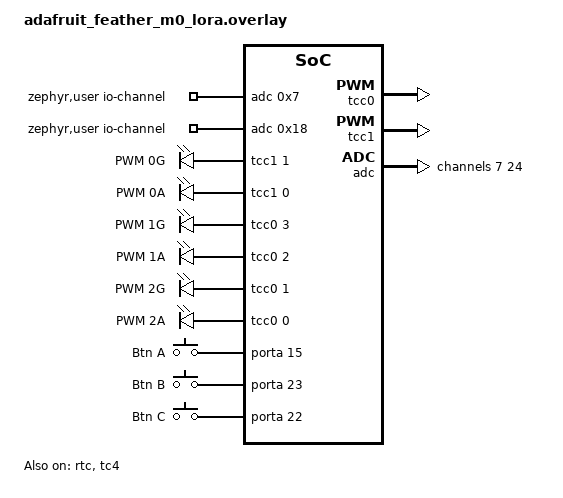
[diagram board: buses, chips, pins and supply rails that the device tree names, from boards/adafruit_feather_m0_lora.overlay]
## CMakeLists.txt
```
# SPDX-License-Identifier: Apache-2.0

cmake_minimum_required(VERSION 3.20.0)

# It seems appropriate to put this *after* the Zephyr package but it only
# affects the build if we put it here. I'm surely doing something wrong.
set_property(GLOBAL APPEND PROPERTY extra_post_build_commands
        COMMAND ${PYTHON_EXECUTABLE} "$ENV{ZEPHYR_BASE}/../common/scripts/incr_build.py"
        ARGS ${CMAKE_CURRENT_SOURCE_DIR}/VERSION
)

find_package(Zephyr REQUIRED HINTS $ENV{ZEPHYR_BASE})
project(lora_ctrl)

add_subdirectory(../common lora-common)

FILE(GLOB app_sources src/*.c)
target_sources(app PRIVATE ${app_sources} ${common_sources} ${common_board_sources})
```

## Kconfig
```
rsource "../common/Kconfig"

source "Kconfig.zephyr"
```

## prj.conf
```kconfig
# General Zephyr settings
CONFIG_MAIN_STACK_SIZE=2048
CONFIG_SYSTEM_WORKQUEUE_STACK_SIZE=4096
CONFIG_THREAD_NAME=y
CONFIG_LOG=y
CONFIG_LOG_MODE_MINIMAL=y
#CONFIG_LOG_BUFFER_SIZE=2048

# Power management
CONFIG_PM=y
CONFIG_CLOCK_CONTROL=y

# Use SAM0 RTC driver instead of Cortex M for system clock
#CONFIG_CORTEX_M_SYSTICK=n
CONFIG_SAM0_RTC_TIMER=n
CONFIG_TIMESLICING=n
CONFIG_SYSTEM_CLOCK_SLOPPY_IDLE=y
#CONFIG_ISR_TABLE_COUNT=y
#CONFIG_DYNAMIC_INTERRUPTS=y

# LoRa PHY
CONFIG_LORA=y
#CONFIG_LORA_LOG_LEVEL_DBG=y

# NVS required to store LoRaWAN DevNonce
CONFIG_NVS=y
CONFIG_SETTINGS=y
CONFIG_SETTINGS_DYNAMIC_HANDLERS=n
#CONFIG_SETTINGS_LOG_LEVEL_DBG=y
# Erase sector size is 256 B but largest LoRaWAN element is 892 B (RegionGroup2)
CONFIG_SETTINGS_NVS_SECTOR_SIZE_MULT=4
CONFIG_SETTINGS_NVS_SECTOR_COUNT=8

# Random number generator required for several LoRaWAN services
#CONFIG_ENTROPY_GENERATOR=y
CONFIG_TEST_RANDOM_GENERATOR=y

# LoRaWAN application layer
CONFIG_LORAWAN=y
CONFIG_LORAMAC_REGION_US915=y
CONFIG_LORAWAN_NVM_SETTINGS=y
CONFIG_LORAMAC_SECURE_ELEMENT_PRE_PROVISIONED=y
#CONFIG_LORAWAN_LOG_LEVEL_DBG=y

# LoRaWAN services required for FUOTA
#CONFIG_LORAWAN_SERVICES=y
##CONFIG_LORAWAN_SERVICES_LOG_LEVEL_DBG=y
#CONFIG_LORAWAN_APP_CLOCK_SYNC=y
#CONFIG_LORAWAN_REMOTE_MULTICAST=y
#CONFIG_LORAWAN_FRAG_TRANSPORT=y
#CONFIG_LORAWAN_FRAG_TRANSPORT_DECODER_LOWMEM=y

# Flash driver to store firmware image
CONFIG_FLASH=y
CONFIG_FLASH_MAP=y
CONFIG_FLASH_PAGE_LAYOUT=y
CONFIG_STREAM_FLASH=y
CONFIG_IMG_MANAGER=y

# hwinfo for unique ID
CONFIG_HWINFO=y
CONFIG_REBOOT=y
CONFIG_MBEDTLS=y
CONFIG_MBEDTLS_PSA_CRYPTO_C=y
CONFIG_PSA_WANT_KEY_TYPE_AES=y
CONFIG_PSA_WANT_ALG_ECB_NO_PADDING=y
CONFIG_MBEDTLS_AES_ROM_TABLES=y
CONFIG_MBEDTLS_AES_FEWER_TABLES=y

# Build secure storage, as the M0 doesn't support TF-M
CONFIG_HAS_SEMTECH_SOFT_SE=y

# TODO: Migrate LoRaWAN soft-se to use PSA secure storage and deduplicate encryption
#CONFIG_HAS_PSA_STORAGE_SE=y
#CONFIG_SECURE_STORAGE=y
#CONFIG_MBEDTLS_PSA_KEY_SLOT_COUNT=4
# Disable PSA ITS warning
#CONFIG_SECURE_STORAGE_ITS_TRANSFORM_AEAD_NO_INSECURE_KEY_WARNING=y

# PWM for LEDs and ADC for reading battery & temperature
CONFIG_COUNTER=y
CONFIG_ADC=y
#CONFIG_ADC_LOG_LEVEL_DBG=y
CONFIG_PWM=y
CONFIG_LED=y
CONFIG_LED_PWM=y
#CONFIG_GPIO_LOG_LEVEL_DBG=y

# Debugging
#CONFIG_STACK_CANARIES_ALL=y

# USB CDC/ACM
CONFIG_SERIAL=y
CONFIG_USB_DEVICE_STACK=y
# We initialize USB on demand, not at boot
#CONFIG_USB_DEVICE_INITIALIZE_AT_BOOT=y
CONFIG_USB_CDC_ACM_LOG_LEVEL_OFF=y
CONFIG_USB_DEVICE_LOG_LEVEL_OFF=y
CONFIG_USB_SELF_POWERED=n
# Value reported is twice this
CONFIG_USB_MAX_POWER=250

# Bootloader support
CONFIG_BOOTLOADER_BOSSA=y
CONFIG_BOOTLOADER_BOSSA_DEVICE_NAME="board_cdc_acm_uart"
CONFIG_BOOTLOADER_BOSSA_ADAFRUIT_UF2=y
```

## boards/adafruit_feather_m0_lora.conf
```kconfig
# use fixed frag size (min and max 232 bytes) to avoid RAM overflow
CONFIG_LORAWAN_FRAG_TRANSPORT_MIN_FRAG_SIZE=232

# alternatively, the redundancy could be reduced
CONFIG_LORAWAN_FRAG_TRANSPORT_MAX_REDUNDANCY=2
```

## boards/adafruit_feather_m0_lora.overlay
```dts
#include <feather-m0-flash-layout.dtsi>
#include <../boards/common/usb/cdc_acm_serial.dtsi>
#include <dt-bindings/gpio/atmel-sam0-gpio.h>

/ {
	chosen {
		zephyr,code-partition = &slot0_partition;
	};	

	zephyr,user {
		io-channels = <&adc 0x7>, <&adc 0x18>;
	};

	aliases {
		pwm-led0g = &pwm_led0g;
		pwm-led0a = &pwm_led0a;
		pwm-led1g = &pwm_led1g;
		pwm-led1a = &pwm_led1a;
		pwm-led2g = &pwm_led2g;
		pwm-led2a = &pwm_led2a;

		btn-gate = &button0;
		btn-garage0 = &button1;
		btn-garage1 = &button2;
	};

	pwmleds {
		compatible = "pwm-leds";

		pwm_led2g: pwm_led_2g {
			pwms = <&tcc1 1 PWM_MSEC(5)>;
			label = "PWM 0G";
		};
		pwm_led2a: pwm_led_2a {
			pwms = <&tcc1 0 PWM_MSEC(5)>;
			label = "PWM 0A";
		};

		pwm_led1g: pwm_led_1g {
			pwms = <&tcc0 3 PWM_MSEC(5)>;
			label = "PWM 1G";
		};
		pwm_led1a: pwm_led_1a {
			pwms = <&tcc0 2 PWM_MSEC(5)>;
			label = "PWM 1A";
		};

		pwm_led0g: pwm_led_0g {
			pwms = <&tcc0 1 PWM_MSEC(5)>;
			label = "PWM 2G";
		};
		pwm_led0a: pwm_led_0a {
			pwms = <&tcc0 0 PWM_MSEC(5)>;
			label = "PWM 2A";
		};
	};

	buttons {
		compatible = "gpio-keys";

		button0: button_0 {
			gpios = <&porta 15 (GPIO_PULL_DOWN | GPIO_ACTIVE_HIGH | SAM0_GPIO_DEBOUNCE)>;
			label = "Btn A";
		};

		button1: button_1 {
			gpios = <&porta 23 (GPIO_PULL_DOWN | GPIO_ACTIVE_HIGH | SAM0_GPIO_DEBOUNCE)>;
			label = "Btn B";
		};

		button2: button_2 {
			gpios = <&porta 22 (GPIO_PULL_DOWN | GPIO_ACTIVE_HIGH | SAM0_GPIO_DEBOUNCE)>;
			label = "Btn C";
		};
	};

};

&rtc {
	status = "okay";
	counter-mode = "clock";
	prescaler = <1>;
	systimer;
};

&tcc0 {
	status = "okay";
	compatible = "atmel,sam0-tcc-pwm";
	prescaler = <2>;
	#pwm-cells = <2>;

	pinctrl-0 = <&tcc0_pwm_default>;
	pinctrl-names = "default";
};

&tcc1 {
	status = "okay";
	compatible = "atmel,sam0-tcc-pwm";
	prescaler = <2>;
	#pwm-cells = <2>;

	pinctrl-0 = <&tcc1_pwm_default>;
	pinctrl-names = "default";
};

&tc4 {
	status = "okay";
	pinctrl-0 = <&tc4_default>;
	pinctrl-names = "default";
};

&sercom3 {
	status = "disabled";
};

#include <dt-bindings/pinctrl/samd21-da1gXabcd-pinctrl.h>

&adc {
	status = "okay";
	#address-cells = <1>;
	#size-cells = <0>;

	pinctrl-0 = <&adc_default>;
	pinctrl-names = "default";

	channel@7 {
		reg = <0x7>;
		zephyr,gain = "ADC_GAIN_1_2";
		zephyr,reference = "ADC_REF_VDD_1_2";
		zephyr,oversampling = <4>; /* Actual oversampling is 2**n */
		zephyr,acquisition-time = <ADC_ACQ_TIME(ADC_ACQ_TIME_MICROSECONDS, 20)>;
		zephyr,vref-mv = <3300>;
		zephyr,input-positive = <0x7>;
		zephyr,resolution = <12>;
	};

	channel@18 {
		reg = <0x18>;
		zephyr,gain = "ADC_GAIN_1";
		zephyr,reference = "ADC_REF_VDD_1_2";
		zephyr,acquisition-time = <ADC_ACQ_TIME(ADC_ACQ_TIME_MICROSECONDS, 20)>;
		/* Temperature. The Vref value includes the conversion to C, so technically
		 * this Vref is in units of 0.1 deg C.
		 */
		zephyr,vref-mv = <6875>;
		zephyr,input-positive = <0x18>;
		zephyr,resolution = <12>;
	};
};


&pinctrl {
	adc_default: adc_default {
		group1 {
			pinmux = <PA7B_ADC_AIN7>;
		};
	};

	tcc0_pwm_default: tcc0_pwm_default {
		group1 {
			pinmux = <PA4E_TCC0_WO0>,
				 <PA5E_TCC0_WO1>,
				 <PA18F_TCC0_WO2>,
				 <PA19F_TCC0_WO3>;
		};
	};

	tcc1_pwm_default: tcc1_pwm_default {
		group1 {
			pinmux = <PA10E_TCC1_WO0>,
				 <PA11E_TCC1_WO1>;
		};
	};

	tc4_default: tc4_default {
		group1 {
			pinmux = <>;
		};
	};
};
```

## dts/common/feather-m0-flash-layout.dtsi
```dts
&flash0 {
	/* Write size set to 4 in samd2x.dtsi but TRM seems to indicate a write page size of 64 B */
	/* write-block-size = <64>; */
	erase-block-size = <256>;

	partitions {
		boot_partition: partition@0 {
			label = "sam-ba";
			reg = <0x00000000 DT_SIZE_K(16)>;
			read-only;
		};

		slot0_partition: partition@4000 {
			label = "slot0";
			reg = <0x04000 DT_SIZE_K(116)>;
			read-only;
		};

		slot1_partition: partition@21000 {
			label = "slot1";
			reg = <0x21000 DT_SIZE_K(116)>;
			read-only;
		};

		storage_partition: partition@3e000 {
			label = "storage";
			reg = <0x0003e000 DT_SIZE_K(8)>;
		};
	};
};
```

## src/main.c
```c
/*
 * LoRaWAN FUOTA sample application
 *
 * Copyright (c) 2022-2024 Libre Solar Technologies GmbH
 * Copyright (c) 2022-2024 tado GmbH
 *
 * SPDX-License-Identifier: Apache-2.0
 */

#include <zephyr/device.h>
#include <zephyr/kernel.h>
#include <zephyr/logging/log.h>
#include <zephyr/logging/log_ctrl.h>
#include <zephyr/drivers/lora.h>
#include <zephyr/drivers/gpio.h>
#include <zephyr/usb/usb_device.h>
#include <zephyr/pm/policy.h>
#include "app_protocol.h"
#include "adc.h"
#include "fuota.h"
#include "pwm.h"
#include "buttons.h"
#include "pm.h"

LOG_MODULE_REGISTER(main, LOG_LEVEL_INF);

#undef DEBUG

#define LED0_NODE DT_ALIAS(led0)
static const struct gpio_dt_spec led = GPIO_DT_SPEC_GET(LED0_NODE, gpios);

static const struct device *lora_dev = DEVICE_DT_GET(DT_ALIAS(lora0));
static const struct lora_modem_config lora_tx_cfg = {
	/* Channel 7 in US915 */
	.frequency = 903700000,
	/* DR_0 (uplink) corresponds to SF_10 on a 125 kHz channel for region US915 */
	.bandwidth = BW_125_KHZ,
	.datarate = SF_10,
	.coding_rate = CR_4_5,
	.public_network = 1, // call it public for now to match LoRaWAN config
	.preamble_len = 8,
	.tx_power = 20,
	.tx = true,
};

static const struct lora_modem_config lora_rx_cfg = {
	/* Channel 64 in US915 */
	.frequency = 923300000,
	/* DR_8 (downlink) corresponds to SF_12 on a 500 kHz channel for region US915 */
	.bandwidth = BW_500_KHZ,
	.datarate = SF_12,
	.coding_rate = CR_4_5,
	.public_network = 1, // call it public for now to match LoRaWAN config
	.preamble_len = 8,
	.iq_inverted = true, // Seems to be set by default for downlinks
};

int lora_init(void) {
	if (!device_is_ready(lora_dev)) {
		LOG_ERR("%s: device not ready.", lora_dev->name);
		return -ENODEV;
	}

        return 0;
}

void leds_off_handler(struct k_work *work) {
	for (int i=0; i < 6; i++) {
		led_set_intensity(i, 0);
	}
}

K_WORK_DELAYABLE_DEFINE(leds_off, leds_off_handler);

void on_error(uint8_t i) {
	pwm_behavior_off();
	leds_off_handler(NULL);
	led_set_intensity(RED_CHAN(i), 50);
	k_work_schedule(&leds_off, K_SECONDS(2));
}

/**
 * Estimate the SoC of the battery based on its current voltage (assumed to
 * be approximately the open-circuit voltage given the low current draw of
 * this device). Input is in mV, output is 8.8 unsigned FXP in the range
 * [0, 100]. May exceed 1 while charging.
 *
 * The OCV to SoC curve here is a very rough estimate. In general the curve
 * is lightly nonlinear, so we estimate SoC using a piecewise linear mapping.
 */
inline static int16_t mv_to_soc(uint16_t bat_mv) {
	int16_t ret;

	if (bat_mv > 3900) {
		/* 4200 -> 25600 */
		/* 3900 -> 6400 */
		ret = ((bat_mv * 64) - 243200);
	} else {
		/* 3900 -> 6400 */
		/* 3400 -> 0 */
		ret = ((bat_mv * 13) - 44300);
	}

	return MIN(MAX(ret, 0), 25600);
}

#define BAR_VARIANCE	0x200

static void render_battery_lvl(uint16_t bat_mv) {
	int16_t soc = mv_to_soc(bat_mv);
	uint8_t bar_max = (uint8_t)(MIN(soc + BAR_VARIANCE/2, 25600) >> 8);
	uint8_t bar_min = (uint8_t)(MAX(soc - BAR_VARIANCE/2, 0) >> 8);

	LOG_DBG("Battery %d mV, soc %03x, bar %02x:%02x", bat_mv, soc, bar_min, bar_max);
	display_bar(300, bar_min, bar_max);
}

static int custom_local_action(uint8_t i, uint8_t action) {
	uint16_t both = ((uint16_t)i << 8) | action;

	switch (both) {
		case 0x022A:
			/* Triple click button 2: enable USB */
			pwm_set_behavior(&beh_colors);
			pm_disable_lp();
			usb_enable(NULL);
			return 1;
		case 0x022B:
			/* Button 2, short short long: reset into bootloader */
			reset_into_bootloader();
			/* no return */
	}

	return 0;
}

static int button_action(uint8_t i, uint8_t action) {
	int ret;
	int16_t rssi;
	int8_t snr;

	/* Set MHDR to proprietary, LoRa major version 1 */
	struct lora_remote_uplink_t uplink;
	uplink.hdr.mhdr = LORA_MHDR_PROPRIETARY;
	uplink.hdr.type = LORA_PROP_TYPE_REMOTE;

	uplink.hdr.battery_lvl = adc_read_battery();
	render_battery_lvl(uplink.hdr.battery_lvl);

	int16_t temp = adc_read_temp();
	int16_t temp_int = temp / 10;
	int16_t temp_frac = temp - (10 * temp_int);
	LOG_INF("Battery: %d mV Temp: %d.%d C Btn: %d", uplink.hdr.battery_lvl, temp_int, temp_frac, i);

	uplink.btn = i;
	uplink.action = action;
	ret = lora_config(lora_dev, &lora_tx_cfg);
	if (ret < 0) {
		LOG_ERR("Failed to configure TX: %d", ret);
		on_error(i);
		return ret;
	}
	ret = lora_send(lora_dev, (uint8_t *)&uplink, sizeof(uplink));
	if (ret < 0) {
		LOG_ERR("Failed to transmit: %d", ret);
		on_error(i);
		return ret;
	}

	ret = lora_config(lora_dev, &lora_rx_cfg);
	if (ret < 0) {
		LOG_ERR("Failed to configure RX: %d", ret);
		on_error(i);
		return ret;
	}

	/* Receive window is tx time + 1s +/- 250 ms */
	k_msleep(750);

	struct lora_remote_downlink_t downlink;
	ret = lora_recv(lora_dev, (uint8_t *)&downlink, sizeof(downlink), K_MSEC(500), &rssi, &snr);
	pwm_behavior_off();
	leds_off_handler(NULL);
	if (ret < 0) {
		LOG_ERR("Failed to receive: %d", ret);
		led_set_intensity(RED_CHAN(i), 100);
	} else if (ret > 0) {
		led_set_intensity(GREEN_CHAN(i), 100);
		LOG_DBG("Received response type %02x: %02x", downlink.hdr.type, downlink.payload);
	}
	/* Schedule LEDs off regardless of what we set */
	k_work_schedule(&leds_off, K_SECONDS(2));

	return 0;
}

int main(void)
{
	int ret;

	if (!gpio_is_ready_dt(&led)) {
		LOG_ERR("LED not ready??");
	}

	ret = gpio_pin_configure_dt(&led, GPIO_OUTPUT_ACTIVE);
	if (ret < 0) {
		LOG_ERR("Failed to configure LED pin");
	}

	ret = gpio_pin_set_dt(&led, 0);
	if (ret < 0) {
		LOG_ERR("Failed to turn off primary LED");
	}

	ret = pm_init();

	ret = adc_init();
	ret = pwm_init();
	ret = button_init();
	ret = lora_init();

	LOG_INF("Running");

#ifdef DEBUG
	pm_disable_lp();
	k_msleep(200);
	usb_enable(NULL);
#endif

	while (1) {
		/* For some unknown reason, the LoRa functions return an error
		 * (tx timeout) if lora_send() is not sent from the main thread.
		 */
		struct action_t act;
		k_msgq_get(&action_queue, &act, K_FOREVER);
		/* See if there's some local action we should take first */
		if (!custom_local_action(act.btn_id, act.action)) {
			/* If not, send the action over LoRa */
			button_action(act.btn_id, act.action);
		}
	}

	//fuota_run();

	return 0;
}
```

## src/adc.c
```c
#include <zephyr/drivers/adc.h>
#include <zephyr/kernel.h>
#include <zephyr/logging/log.h>
#include "adc.h"

LOG_MODULE_REGISTER(adc, CONFIG_ADC_LOG_LEVEL);

#define DT_SPEC(node_id, prop, idx) \
	ADC_DT_SPEC_GET_BY_IDX(node_id, idx)

/* Data of ADC io-channels specified in devicetree. */
static const struct adc_dt_spec adc_channels[] = {
	DT_FOREACH_PROP_ELEM_SEP(DT_PATH(zephyr_user), io_channels,
		DT_SPEC, (,))
};

int32_t adc_sample(uint16_t chan_id);

int adc_init(void)
{
	/* Configure channels individually prior to sampling. */
	for (size_t i = 0U; i < ARRAY_SIZE(adc_channels); i++) {
		if (!adc_is_ready_dt(&adc_channels[i])) {
			LOG_ERR("ADC controller device %s chan %d not ready\n", adc_channels[i].dev->name, i);
			return 0;
		}

		LOG_DBG("ADC %s:%d: %d bits, vref %d, %d ticks", adc_channels[i].dev->name,
			adc_channels[i].channel_id, adc_channels[i].resolution, adc_channels[i].vref_mv,
			adc_channels[i].channel_cfg.acquisition_time);
	}

	return 0;
}

int32_t adc_sample(uint16_t chan_id) {
	int err;
	uint16_t buf;
	struct adc_sequence sequence = {
		.buffer = &buf,
		/* buffer size in bytes, not number of samples */
		.buffer_size = sizeof(buf),
	};

	if (chan_id >= ARRAY_SIZE(adc_channels)) {
		LOG_ERR("Invalid channel %d", chan_id);
		return 0;
	}

	/* The SAM0 ADC apparently needs to be set up each acquisition */
	err = adc_channel_setup_dt(&adc_channels[chan_id]);
	if (err < 0) {
		LOG_ERR("Could not setup channel %d (%d)\n", chan_id, err);
		return 0;
	}

	err = adc_sequence_init_dt(&adc_channels[chan_id], &sequence);
	if (err < 0) {
		LOG_ERR("Could not init sequence (%d)\n", err);
		return 0;
	}

	err = adc_read_dt(&adc_channels[chan_id], &sequence);
	if (err < 0) {
		LOG_ERR("Could not read ADC %s chan %d (%d)", adc_channels[chan_id].dev->name, chan_id, err);
		return 0;
	}

	LOG_DBG("Channel %d raw value %04x", chan_id, buf);
	int32_t sample = (int32_t)buf;
	err = adc_raw_to_millivolts_dt(&adc_channels[chan_id], &sample);
	if (err < 0) {
		LOG_ERR("Could not convert ADC sample: %d", err);
	}

	return sample;
}

uint16_t adc_read_battery(void) {
	return (uint16_t)adc_sample(0);
}

int16_t adc_read_temp(void) {
	return (int16_t)(adc_sample(1) - 2529);
}
```

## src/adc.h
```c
#ifndef __ADC_H__
#define __ADC_H__

#include <stdint.h>

int adc_init(void);
/* Returns the battery voltage in mV. */
uint16_t adc_read_battery(void);
/* Returns the measured temperature in units of 0.1 deg C */
int16_t adc_read_temp(void);

#endif /* __ADC_H__ */
```

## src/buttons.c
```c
#include <zephyr/kernel.h>
#include <zephyr/drivers/gpio.h>
#include <zephyr/logging/log.h>
#include <inttypes.h>

#include "pm.h"
#include "buttons.h"

LOG_MODULE_REGISTER(buttons, LOG_LEVEL_INF);

static const struct gpio_dt_spec buttons[] = {
        GPIO_DT_SPEC_GET(DT_ALIAS(btn_gate), gpios),
        GPIO_DT_SPEC_GET(DT_ALIAS(btn_garage0), gpios),
        GPIO_DT_SPEC_GET(DT_ALIAS(btn_garage1), gpios),
};

struct gpio_context_t {
	int64_t press_ticks;
	struct k_timer exp_timer;
	uint8_t action;
};

static struct gpio_context_t ctx[ARRAY_SIZE(buttons)] = {0};

K_MSGQ_DEFINE(action_queue, sizeof(struct action_t), 4, 1);

static void exp_handler(struct k_timer *timer) {
	struct gpio_context_t *pctx = k_timer_user_data_get(timer);
	/* Position of context tells us the button index without us having to store it */
	uint8_t i = pctx - &ctx[0];

	k_timer_stop(timer);
	pm_sysclock_allow_idle();

	/* No further action within the timeout period: submit actions */
	struct action_t act = {
		.btn_id = i,
		.action = pctx->action,
	};
	LOG_INF("Button %d action %02x", i, pctx->action);
	k_msgq_put(&action_queue, &act, K_FOREVER);

	/* Reset context */
	pctx->press_ticks = 0;
	pctx->action = 0;
}

static struct gpio_callback gpio_callback;

static inline void on_press(uint8_t i, int64_t now) {
	ctx[i].press_ticks = now;
	/* TODO: long press timeout? */
	k_timer_stop(&ctx[i].exp_timer);
	/* Ensure that sysclock is not stopped so we can measure
	* the duration of the press.
	*/
	pm_sysclock_force_active();
}

static inline void on_release(uint8_t i, int64_t now) {
	int64_t dur = now - ctx[i].press_ticks;
	ctx[i].press_ticks = 0;
	LOG_DBG("Button %d press %lld ms", i, dur);
	if (dur > GLITCH_THRESH_MS) {
		/* Ignore glitches entirely */
		ctx[i].action = (ctx[i].action << BTN_ACTION_SIZE) |
			((dur < SHORT_PRESS_THRESH_MS) ? BTN_ACTION_SHORT : BTN_ACTION_LONG) |
			BTN_ACTION_VALID;
	}
	/* Wait to see if we get any further presses. The period is
	 * forever to make this is a one-shot.
	 */
	LOG_DBG("Starting timer %p", &ctx[i].exp_timer);
	k_timer_start(&ctx[i].exp_timer, K_MSEC(NEXT_PRESS_TIMEOUT_MS), K_FOREVER);
}

static void button_irq_callback(const struct device *dev,
				struct gpio_callback *cb, uint32_t pins)
{
	int64_t now = k_uptime_get();

	for (int i=0; i < ARRAY_SIZE(buttons); i++) {
		if (IS_BIT_SET(pins, buttons[i].pin)) {
			/* State change on button i. If button was previously
			 * pressed, the `press_ticks` field will be non-zero.
			 */
			uint8_t state = gpio_pin_get_dt(&buttons[i]);
			LOG_DBG("Pin %d state %d", i, state);
			if ((ctx[i].press_ticks == 0) != (state == 0)) {
				if (state) {
					/* Press */
					on_press(i, now);
				} else {
					/* Release */
					on_release(i, now);
				}
			}
			/* Clear bit */
			WRITE_BIT(pins, buttons[i].pin, 0);
		}
	}
}

int button_init(void)
{
	int ret;
	int i;
	gpio_port_pins_t mask = 0;
	int64_t now = k_uptime_get();

        for (i=0; i < ARRAY_SIZE(buttons); i++) {
		if (i > 0 && buttons[i].port != buttons[0].port) {
			LOG_ERR("All buttons must be on the same port!");
			return -EINVAL;
		}

		if (!gpio_is_ready_dt(&buttons[i])) {
			LOG_ERR("button device %s is not ready",
			buttons[i].port->name);
			return -ENOENT;
		}

		/* Initialize context */
		k_timer_init(&ctx[i].exp_timer, exp_handler, NULL);
		k_timer_user_data_set(&ctx[i].exp_timer, &ctx[i]);

		ret = gpio_pin_configure_dt(&buttons[i], GPIO_INPUT);
		if (ret != 0) {
			LOG_ERR("failed to configure %s pin %d: %d",
			buttons[i].port->name, buttons[i].pin, ret);
			return ret;
		}

		if(gpio_pin_get_dt(&buttons[i]) != 0) {
			/* Button still pressed from boot. Mark the press time as
			 * early as we can.
			 */
			on_press(i, now);
		}

		ret = gpio_pin_interrupt_configure_dt(&buttons[i], GPIO_INT_EDGE_BOTH);
		if (ret != 0) {
			LOG_ERR("failed to configure interrupt on %s pin %d: %d",
			buttons[i].port->name, buttons[i].pin, ret);
			return ret;
		}

		mask |= BIT(buttons[i].pin);
	}

	LOG_DBG("Init GPIO callback with mask %08x", mask);
	gpio_init_callback(&gpio_callback,
			button_irq_callback,
			mask);

	ret = gpio_add_callback(buttons[0].port, &gpio_callback);
	if (ret < 0) {
		LOG_ERR("Could not set gpio callback.");
		return -EINVAL;
	}

	return 0;
}

uint8_t button_poll(void) {
	uint8_t val = 0;

	for (int i=0; i < ARRAY_SIZE(buttons); i++) {
		val = (val << 1) | (uint8_t)gpio_pin_get_dt(&buttons[i]);
	}

	return val;
}
```

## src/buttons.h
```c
#ifndef __BUTTONS_H__
#define __BUTTONS_H__

#include <stdint.h>

#define BTN_ACTION_SIZE 2
#define BTN_ACTION_VALID (1 << 1)
#define BTN_ACTION_SHORT (0 << 0)
#define BTN_ACTION_LONG  (1 << 0)

#define BTN_ACT_1_SHORT  (BTN_ACTION_VALID | BTN_ACTION_SHORT)
#define BTN_ACT_1_LONG   (BTN_ACTION_VALID | BTN_ACTION_LONG)

#define GLITCH_THRESH_MS          5
#define SHORT_PRESS_THRESH_MS   200
#define NEXT_PRESS_TIMEOUT_MS   1000

/* Button action queue */
struct action_t {
	uint8_t btn_id;
	uint8_t action;
};
extern struct k_msgq action_queue;

int button_init(void);
uint8_t button_poll(void);

#endif
```

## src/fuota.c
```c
/*
 * LoRaWAN FUOTA sample application
 *
 * Copyright (c) 2022-2024 Libre Solar Technologies GmbH
 * Copyright (c) 2022-2024 tado GmbH
 *
 * SPDX-License-Identifier: Apache-2.0
 */

#include <zephyr/device.h>
#include <zephyr/kernel.h>
#include <zephyr/logging/log.h>
#include <zephyr/lorawan/lorawan.h>
#include "../lorawan/eui.h"

LOG_MODULE_REGISTER(lorawan_fuota, CONFIG_LORAWAN_LOG_LEVEL);

#define DELAY K_SECONDS(180)

char data[] = {'h', 'e', 'l', 'l', 'o', 'w', 'o', 'r', 'l', 'd'};

static void downlink_info(uint8_t port, uint8_t flags, int16_t rssi, int8_t snr, uint8_t len,
			  const uint8_t *data)
{
	LOG_INF("Received from port %d, flags %d, RSSI %ddB, SNR %ddB", port, flags, rssi, snr);
	if (data) {
		LOG_HEXDUMP_INF(data, len, "Payload: ");
	}
}

static void datarate_changed(enum lorawan_datarate dr)
{
	uint8_t unused, max_size;

	lorawan_get_payload_sizes(&unused, &max_size);
	LOG_INF("New Datarate: DR %d, Max Payload %d", dr, max_size);
}

static void fuota_finished(void)
{
	LOG_INF("FUOTA finished. Reset device to apply firmware upgrade.");

	/*
	 * In an actual application the firmware should be rebooted here if
	 * no important tasks are pending
	 */
}

int fuota_run(void) {
	struct lorawan_join_config join_cfg = {0};
	int ret;

	/* Keys restored from NVM */
	ret = lorawan_start();
	if (ret < 0) {
		LOG_ERR("lorawan_start failed: %d", ret);
		return ret;
	}

	ret = lorawan_init_eui();
	if (ret < 0) {
		LOG_ERR("failed to initialize EUI: %d", ret);
		return ret;
	}

	struct lorawan_downlink_cb downlink_cb = {
		.port = LW_RECV_PORT_ANY,
		.cb = downlink_info
	};

	lorawan_register_downlink_callback(&downlink_cb);
	lorawan_register_dr_changed_callback(datarate_changed);

	join_cfg.mode = LORAWAN_ACT_OTAA;
	/*
	 * By not setting EUIs and keys we rely on the restored NVM values
	 * and those generated in lorawan_init_eui()
	 */

	LOG_INF("Joining network over OTAA");
	ret = lorawan_join(&join_cfg);
	if (ret < 0) {
		LOG_ERR("lorawan_join_network failed: %d", ret);
		return ret;
	}

	lorawan_enable_adr(true);

#ifdef CONFIG_LORAWAN_SERVICES
	/*
	 * Clock synchronization is required to schedule the multicast session
	 * in class C mode. It can also be used independent of FUOTA.
	 */
	lorawan_clock_sync_run();

	/*
	 * The multicast session setup service is automatically started in the
	 * background. It is also responsible for switching to class C at a
	 * specified time.
	 */

	/*
	 * The fragmented data transport transfers the actual firmware image.
	 * It could also be used in a class A session, but would take very long
	 * in that case.
	 */
	lorawan_frag_transport_run(fuota_finished);

	/*
	 * Regular uplinks are required to open downlink slots in class A for
	 * FUOTA setup by the server.
	 */
	while (1) {
		ret = lorawan_send(2, data, sizeof(data), LORAWAN_MSG_UNCONFIRMED);
		if (ret == 0) {
			LOG_INF("Hello World sent!");
		} else {
			LOG_ERR("lorawan_send failed: %d", ret);
		}

		k_sleep(DELAY);
	}
#else
	return 0;
#endif
}
```

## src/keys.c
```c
#include <zephyr/kernel.h>
#include <zephyr/drivers/hwinfo.h>
#include <psa/crypto.h>
#include <zephyr/logging/log.h>

#include "keys.h"

#define EUI_KEYS_ITER_COUNT 8
#define EUI_KEYS_ALG        PSA_ALG_PBKDF2_HMAC(PSA_ALG_SHA_256)

LOG_MODULE_REGISTER(keys, LOG_LEVEL_INF);

const uint8_t join_eui[] = LORAWAN_JOIN_EUI;

struct dev_keys_t {
    uint8_t dev[8];
    uint8_t app[8];
};

static struct dev_keys_t dev_keys = { 0 };

int generate_keys(void) {
	uint8_t dev_id[8];
	psa_status_t status = PSA_SUCCESS;
	psa_key_attributes_t attributes = PSA_KEY_ATTRIBUTES_INIT;
	psa_key_derivation_operation_t operation = PSA_KEY_DERIVATION_OPERATION_INIT;
	int ret;

	/* TODO: check settings to see if this was previously calculated */

	psa_set_key_usage_flags(&attributes, PSA_KEY_USAGE_DERIVE);
	psa_set_key_lifetime(&attributes, PSA_KEY_PERSISTENCE_READ_ONLY);
	psa_set_key_algorithm(&attributes, EUI_KEYS_ALG);
	psa_set_key_type(&attributes, PSA_KEY_TYPE_RAW_DATA);
	psa_set_key_bits(&attributes, PSA_BYTES_TO_BITS(sizeof(struct dev_keys_t)));

	status = psa_key_derivation_setup(&operation, EUI_KEYS_ALG);
	if (status != PSA_SUCCESS) {
		LOG_ERR("Failed psa_key_derivation_setup: %d", status);
		goto out;
	}

	status = psa_key_derivation_input_integer(&operation, PSA_KEY_DERIVATION_INPUT_COST,
						  EUI_KEYS_ITER_COUNT);
	if (status != PSA_SUCCESS) {
		LOG_ERR("Failed psa_key_derivation_input_integer: %d", status);
		goto out;
	}

	/* Salt with the join EUI */
	status = psa_key_derivation_input_bytes(&operation, PSA_KEY_DERIVATION_INPUT_SALT,
						join_eui, sizeof(join_eui));
	if (status != PSA_SUCCESS) {
		LOG_ERR("Failed psa_key_derivation_input_bytes salt: %d", status);
		goto out;
	}

	/* Copy device ID into dev_id */
	ret = hwinfo_get_device_id(dev_id, sizeof(dev_id));
	if (ret < 0) {
		LOG_ERR("hwinfo failed: %d", ret);
		goto out;
	}
	LOG_HEXDUMP_DBG(dev_id, sizeof(dev_id), "Device ID");

    	/* Use the device ID as a low-entropy input */
	status = psa_key_derivation_input_bytes(&operation, PSA_KEY_DERIVATION_INPUT_PASSWORD,
						dev_id, sizeof(dev_id));
	if (status != PSA_SUCCESS) {
		LOG_ERR("Failed psa_key_derivation_input_bytes device ID: %d", status);
		goto out;
	}

	status = psa_key_derivation_output_bytes(&operation, (uint8_t *)&dev_keys, sizeof(struct dev_keys_t));
	if (status != PSA_SUCCESS) {
		LOG_ERR("Failed psa_key_derivation_output_bytes: %d", status);
		goto out;
	}

	LOG_HEXDUMP_DBG(dev_keys.dev, 8, "Device EUI");
	LOG_HEXDUMP_DBG(dev_keys.app, 8, "App key");

out:
	psa_reset_key_attributes(&attributes);
	psa_key_derivation_abort(&operation);

	return status;
}

uint8_t *get_dev_eui() {
    return &dev_keys.dev[0];
}

uint8_t *get_app_key() {
    return &dev_keys.app[0];
}
```

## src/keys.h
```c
#ifndef __KEYS_H__
#define __KEYS_H__

#include <stdint.h>

#define LORAWAN_JOIN_EUI	{ 0xEF, 0x4E, 0x6B, 0x27, 0x35, 0x14, 0xCA, 0x84 }

extern const uint8_t join_eui[];

int generate_keys(void);
uint8_t *get_dev_eui(void);
uint8_t *get_app_key(void);

#endif
```

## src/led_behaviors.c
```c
#include "pwm.h"
#include <zephyr/logging/log.h>
#include <string.h>

LOG_MODULE_DECLARE(pwm, LOG_LEVEL_INF);

/* TODO: the first offset is always zero and the last width array
 * always matches the first. Reduce the number of vectors stored.
 */
const struct led_behavior_t beh_cylon = {
        .n_keys = 5,
        .keys = {
                { .offset_ms =    0, .width_pct = { DUTY_PCT(50), 0, 0, 0, 0, 0 } },
                { .offset_ms =  500, .width_pct = { 0, 0, DUTY_PCT(50), 0, 0, 0 } },
                { .offset_ms = 1000, .width_pct = { 0, 0, 0, 0, DUTY_PCT(50), 0 } },
                { .offset_ms = 1500, .width_pct = { 0, 0, DUTY_PCT(50), 0, 0, 0 } },
                { .offset_ms = 2000, .width_pct = { DUTY_PCT(50), 0, 0, 0, 0, 0 } },
        }
};

const struct led_behavior_t beh_colors = {
        .n_keys = 4,
        .keys = {
                { .offset_ms =    0, .width_pct = { DUTY_PCT(50), 0, 0, 0, 0, DUTY_PCT(50) } },
                { .offset_ms =  500, .width_pct = { 0, DUTY_PCT(50), DUTY_PCT(50), 0, 0, 0 } },
                { .offset_ms = 1000, .width_pct = { 0, 0, 0, DUTY_PCT(50), DUTY_PCT(50), 0 } },
                { .offset_ms = 1500, .width_pct = { DUTY_PCT(50), 0, 0, 0, 0, DUTY_PCT(50) } },
        }
};

struct led_behavior_t beh_bar = {
        .n_keys = 5,
        .keys = {
                { .offset_ms =    0, .width_pct = { 0, 0, 0, 0, 0, 0 } },
                { .offset_ms =  500, .width_pct = { 0, 0, 0, 0, 0, 0 } },
                { .offset_ms = 1000, .width_pct = { 0, 0, 0, 0, 0, 0 } },
                { .offset_ms = 1500, .width_pct = { 0, 0, 0, 0, 0, 0 } },
                { .offset_ms = 2000, .width_pct = { 0, 0, 0, 0, 0, 0 } },
        }
};

#define LED_SCALE_CNT   (N_LEDS/2 - 1)
/* Scaler for LED count computation, 8.24 FXP */
#define LED_SCALE       ((LED_SCALE_CNT << 24)/100)
/**
 * Scale the percent (0-100 in 8.0 format) to the fractional number of
 * LEDs to illuminate (1.0-3.0 in 8.8 format).
 */
static inline uint16_t scale_pct_to_leds(uint8_t val) {
        /* 0 -> 0x0100 = 0x0100 + 0x00000
         * 100 -> 0x0300 = 0x0100 + 0x0200
         * tmp = 1 + val * led_channels / 100 (8.24 FXP)
         * return fxp8_8(tmp) // round and shift
         */
        uint32_t tmp = val * LED_SCALE + 0x01008000;
        return (uint16_t)(tmp >> 16);
}

static void set_bar_value(int idx, uint8_t val) {
        /* Number of LEDs lit in 8.8 FXP format (range 1 to N_LEDS/2) */
        uint16_t n_leds = scale_pct_to_leds(val);
        uint8_t n_leds_int = (uint8_t)(n_leds >> 8);
        uint8_t n_leds_frac = (uint8_t)(n_leds & 0xFF);
        uint16_t pct_g = DUTY_PCT(val);
        uint16_t pct_r = DUTY_PCT(100 - (uint32_t)val);
        uint16_t *width_vec = &beh_bar.keys[idx].width_pct[0];

        LOG_DBG("n_leds %x.%02x g %d r %d", n_leds_int, n_leds_frac, pct_g, pct_r);

        for (int i=0; i < N_LEDS/2; i++) {
                if (i < n_leds_int) {
                        LOG_DBG("LED %d intensity 255", i);
                        /* Lower LEDs are fully on in the specified color */
                        width_vec[GREEN_CHAN(i)] = pct_g;
                        width_vec[RED_CHAN(i)] = pct_r;
                } else if (i == n_leds_int) {
                        /* Top LED intensity varies */
                        LOG_DBG("LED %d intensity %d", i, n_leds_frac);
                        width_vec[GREEN_CHAN(i)] = (uint16_t)(((uint32_t)pct_g * n_leds_frac) >> 8);
                        width_vec[RED_CHAN(i)] = (uint16_t)(((uint32_t)pct_r * n_leds_frac) >> 8);
                } else {
                        /* Upper LEDs are off */
                        LOG_DBG("LED %d intensity 0", i);
                        width_vec[GREEN_CHAN(i)] = 0;
                        width_vec[RED_CHAN(i)] = 0;
                }
        }
}

/**
 * Renders a flashing bar that goes from the min to max value. Zero renders as
 * one solid red LED, 100 renders as three solid green LEDs.
 */
void display_bar(uint32_t period, uint8_t min, uint8_t max) {
        set_bar_value(0, min);
        set_bar_value(1, max);
        memcpy(&beh_bar.keys[2].width_pct[0], &beh_bar.keys[0].width_pct[0], N_LEDS*sizeof(uint32_t));
        beh_bar.n_keys = 3;
        for (int i=0; i < beh_bar.n_keys; i++) {
                beh_bar.keys[i].offset_ms = period * i;
        }
        pwm_set_behavior(&beh_bar);
}

void test_bar(uint32_t period) {
        set_bar_value(0, 0);
        set_bar_value(1, 50);
        set_bar_value(2, 100);
        set_bar_value(3, 50);
        memcpy(&beh_bar.keys[4].width_pct[0], &beh_bar.keys[0].width_pct[0], N_LEDS*sizeof(uint32_t));
        beh_bar.n_keys = 5;
        for (int i=0; i < beh_bar.n_keys; i++) {
                beh_bar.keys[i].offset_ms = period * i;
        }
        pwm_set_behavior(&beh_bar);
}
```

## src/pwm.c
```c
#include <zephyr/kernel.h>
#include <zephyr/drivers/counter.h>
#include <zephyr/drivers/pwm.h>
#include <zephyr/logging/log.h>

#include "pwm.h"

LOG_MODULE_REGISTER(pwm, LOG_LEVEL_INF);

/* Data of ADC io-channels specified in devicetree. */
static const struct pwm_dt_spec pwm_channels[N_LEDS] = {
	PWM_DT_SPEC_GET(DT_ALIAS(pwm_led0g)),
	PWM_DT_SPEC_GET(DT_ALIAS(pwm_led0a)),
	PWM_DT_SPEC_GET(DT_ALIAS(pwm_led1g)),
	PWM_DT_SPEC_GET(DT_ALIAS(pwm_led1a)),
	PWM_DT_SPEC_GET(DT_ALIAS(pwm_led2g)),
	PWM_DT_SPEC_GET(DT_ALIAS(pwm_led2a)),
};

static const struct device *timer = DEVICE_DT_GET(DT_ALIAS(tc_4));

static struct led_behavior_t behavior;
/* This is a separate array because it's computed from the keyframes */
static uint32_t inv_period[MAX_BEHAVIOR_KEYS];

/**
 * Set approximate LED intensity assuming a gamma factor of 2.0.
 * Assumes channel is valid. PCT is 8.8 FXP.
 */
static inline int _led_set_intensity(const struct pwm_dt_spec *channel, uint16_t pct) {
	/* PCT is in 8.8 FXP. Square the value and shift to 16.0 format */
	uint32_t pulse_width = (PWM_PERIOD_NS/10000) * (((uint32_t)pct * pct) >> 16);

	LOG_DBG("%s.%d: %d ns", channel->dev->name, channel->channel, pulse_width);
	int ret = pwm_set_pulse_dt(channel, pulse_width);
	if (ret) {
		LOG_ERR("failed to set pulse width %d ns on %s.%d: %d", pulse_width, channel->dev->name, channel->channel, ret);
		return ret;
	}

	return 0;
}

/**
 * This function assumes that the total number of fractional bits
 * between a and b is 32.
 */
static inline int32_t mult_and_shift(int32_t a, uint32_t b) {
	return (int32_t)(((int64_t)a * (int64_t)b) >> 32);
}

/**
 * Linearly interpolates between a (alpha = 0) and b (alpha = 1) where
 * alpha is a q31 (0.31 fixed-point).
 */
static inline uint32_t interp(uint32_t a, uint32_t b, uint32_t alpha) {
	/* a*(1-alpha) + b*alpha = a - a*alpha + b*alpha = alpha*(b-a) + a */
	uint32_t x = mult_and_shift(b - a, alpha);
	//LOG_DBG("interp: a %08x b %08x x %08x ret %08x", a, b, x, a + x);
	return a + x;
}

void timer_callback(const struct device *dev, void *unused) {
	int i;
	int ret;
	int64_t now = k_uptime_get();

	if (behavior.start_time == 0 || behavior.start_time > now) {
		/* Set all to zero */
		for (i=0; i < N_LEDS; i++) {
			ret = pwm_set_pulse_dt(&pwm_channels[i], 0);
			__ASSERT(ret, "Failed to set PWM pulse width");
		}
		counter_stop(timer);
	}

	uint32_t delta = (uint32_t)(now - behavior.start_time);
	struct led_behavior_key_t *last_key = &behavior.keys[behavior.n_keys - 1];
	if (delta >= last_key->offset_ms) {
		/* We're off the end of the sequence. Repeat forward. */
		uint32_t count = (delta / last_key->offset_ms);
		uint32_t offset = count * last_key->offset_ms;
		LOG_DBG("Advancing sequence forward %d cycles (%d ms)", count, offset);
		/* Increment start time for the next update */
		behavior.start_time += offset;
		delta -= offset;
	}

	int start_idx = -1;
	/* Find the first index in the past */
	for (i=1; i < behavior.n_keys; i++) {
		if (delta < behavior.keys[i].offset_ms) {
			start_idx = i - 1;
			break;
		}
	}

	if (start_idx < 0) {
		/* The first offset should always be zero so we should *always* be
		 * after the first key frame
		 */
		LOG_ERR("Could not determine start index for delta %d ms idx %d, %d keys", delta, start_idx, behavior.n_keys);
		for (i=0; i < behavior.n_keys; i++) {
			LOG_DBG("  Offset %d: %d ms", i, behavior.keys[i].offset_ms);
		}
		counter_stop(timer);
	}
	__ASSERT(start_idx < behavior.n_keys, "Start key should never be last key frame");

	/* TODO: intentionally not optimizing any of this yet */
	/* Probably need to move this to a delayed work item as this callback is in an ISR */
	uint32_t alpha = (delta - behavior.keys[start_idx].offset_ms) * inv_period[start_idx];

	LOG_DBG("start %d delta %08x alpha %08x inv %08x", start_idx, delta, alpha, inv_period[start_idx]);

	/* For each channel, interpolate between the past and future key frames */
	struct led_behavior_key_t *a = &behavior.keys[start_idx];
	struct led_behavior_key_t *b = &behavior.keys[start_idx + 1];

	for (i=0; i < N_LEDS; i++) {
		uint32_t val = interp(a->width_pct[i], b->width_pct[i], alpha);
		if (i == 0) {
			LOG_DBG("a %08x b %08x val %08x", a->width_pct[i], b->width_pct[i], val);
		}
		ret = _led_set_intensity(&pwm_channels[i], val);
		if (ret < 0) {
			LOG_ERR("Failed to set channel %d pulse width %d: %d", i, val, ret);
			counter_stop(timer);
		}
	}
}

int pwm_set_behavior(const struct led_behavior_t *beh) {
	__ASSERT(beh->keys[0].offset_ms == 0, "First key must start at zero");
	memcpy(&behavior, beh, sizeof(struct led_behavior_t));

	uint32_t last_offset_ms = 0;
	for (int i=1; i < behavior.n_keys; i++) {
		/* Pre-calculate inverse period */
		uint32_t this_offset_ms = behavior.keys[i].offset_ms;
		uint32_t period = this_offset_ms - last_offset_ms;
		inv_period[i-1] = (uint32_t)((1ULL << 32) / period);
		last_offset_ms = this_offset_ms;
	}

	behavior.start_time = k_uptime_get();
	int ret = counter_start(timer);
	if (ret < 0) {
		LOG_ERR("Failed to start timer: %d", ret);
		return ret;
	}

	return 0;
}

int pwm_behavior_off(void) {
	counter_stop(timer);
	behavior.start_time = 0;
	behavior.n_keys = 0;

	return 0;
}

static struct counter_top_cfg timer_cfg = {
	.callback = timer_callback,
	.flags = COUNTER_TOP_CFG_RESET_WHEN_LATE,
	.user_data = NULL,
};

int pwm_init(void) {
	if (!device_is_ready(timer)) {
		LOG_ERR("Timer device %s is not ready", timer->name);
	}

	timer_cfg.ticks = counter_us_to_ticks(timer, PWM_UPDATE_INTERVAL_US);
	LOG_DBG("counter set for %d ticks", timer_cfg.ticks);
	int ret = counter_set_top_value(timer, &timer_cfg);
	if (ret != 0) {
		LOG_ERR("Could not set counter top: %d", ret);
	}
	pwm_behavior_off();

	for (size_t i = 0U; i < N_LEDS; i++) {
		if (!pwm_is_ready_dt(&pwm_channels[i])) {
			LOG_ERR("PWM device %d %s is not ready: %d\n",
				i, pwm_channels[i].dev->name, ret);
			return -1;
		}

		ret = pwm_set_pulse_dt(&pwm_channels[i], 0);
		if (ret) {
			LOG_ERR("failed to clear channel %d: %d\n", i, ret);
			return ret;
		}
	}

	return 0;
}

int led_set_intensity(uint16_t channel, uint8_t pct) {
	if (channel >= N_LEDS) {
		return -EINVAL;
	}

	_led_set_intensity(&pwm_channels[channel], (uint16_t)pct << 8);

	return 0;
}
```

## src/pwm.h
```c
#ifndef __PWM_H__
#define __PWM_H__

#include <stdint.h>

#define N_LEDS	6

#define GREEN_CHAN(btn) (2*(btn)+0)
#define RED_CHAN(btn)   (2*(btn)+1)

/* Change this if base PWM period changes */
#define PWM_PERIOD_NS	5000000

#define DUTY_PCT(pct)   ((uint16_t)(pct) << 8)

#define PWM_UPDATE_INTERVAL_US  50000

#define MAX_BEHAVIOR_KEYS	8

/* Preset behaviors */
extern const struct led_behavior_t beh_cylon;
extern const struct led_behavior_t beh_colors;

struct led_behavior_key_t {
	uint32_t offset_ms;
	uint16_t width_pct[N_LEDS];
};

struct led_behavior_t {
	int64_t start_time;
	struct led_behavior_key_t keys[MAX_BEHAVIOR_KEYS];
	int n_keys;
};

void display_bar(uint32_t period, uint8_t min, uint8_t max);
void test_bar(uint32_t period);

int pwm_behavior_off(void);
int pwm_set_behavior(const struct led_behavior_t *beh);

int pwm_init(void);
int led_set_intensity(uint16_t channel, uint8_t pct);

#endif /* __PWM_H__ */
```
